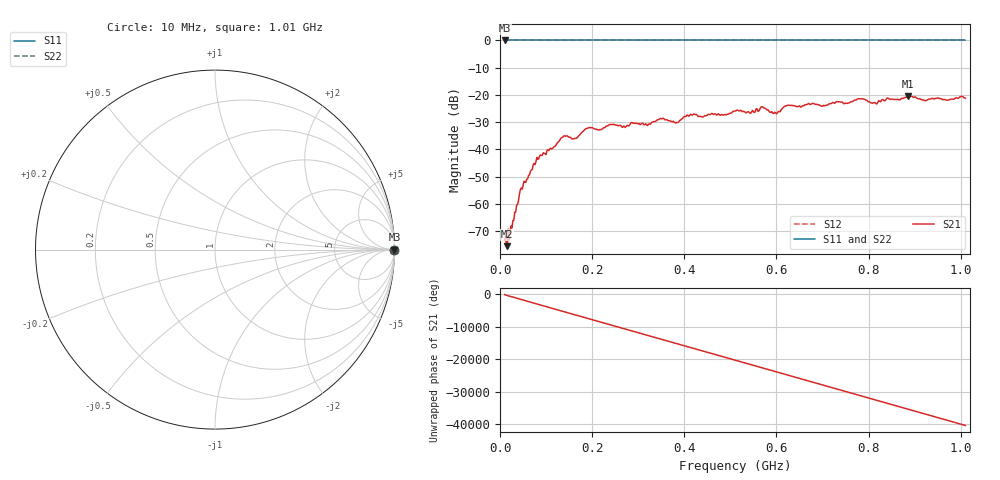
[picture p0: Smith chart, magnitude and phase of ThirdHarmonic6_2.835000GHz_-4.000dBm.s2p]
! 8/17/2025 7:34:50 AM
! C:\ANRITSUVNA\TEMP\TEMP.S2P
! CHANNEL.1
! TR.MEASUREMENT
! RAW.DATA
! RF.CORRECTION.OFF
! AVERAGING.OFF
! IF.BANDWIDTH: 5KHZ
! SWEEPTYPE:  FREQ.SWEEP(Linear)
! Reference Plane Port Info
! PORT:  PORT1  PORT2
! DISTANCE:  0  m  0  m
! TIME:  0  s  0  s
! PHASE.OFFSET:  0  deg.  0  deg.
! LOSS:  0  dB  0  dB
! REF.LOSS:  0  dB  0  dB
! REF.FREQ:  0  Hz  0  Hz
! Power Info
! POWER:  -20  dBm  -20  dBm
! EFF.POWER:  -20  dBm  -20  dBm
! SOURCE.ATTEN:  0  dB  0  dB
! TEST.ATTEN:  0  dB  0  dB
# GHZ S RI R 50.0
! FREQ.GHZ  S11RE  S11IM  S21RE  S21IM  S12RE  S12IM  S22RE  S22IM
!; PortSelection: Port_12
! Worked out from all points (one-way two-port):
!   501 points, 10 MHz to 1.01 GHz, reference 50 ohm
!   highest |S21| = -20.47 dB at 886 MHz (marker M1); lowest = -75.5 dB at 16 MHz (marker M2)
!   lowest |S11| = 0.0 dB at 10 MHz (marker M3)
!   |S11| at or under -10 dB: nowhere
!   |S22| runs from 0.0 to 0.0 dB; largest |S21 - S12| = 1.1
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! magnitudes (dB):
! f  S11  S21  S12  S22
! 10 MHz  0.0  -73.3  0.0  0.0
! 16 MHz  0.0  -75.5  0.0  0.0
! 48 MHz  0.0  -54.6  0.0  0.0
! 76 MHz  0.0  -45.6  0.0  0.0
! 136 MHz  0.0  -35.6  0.0  0.0
! 162 MHz  0.0  -35.9  0.0  0.0
! 178 MHz  0.0  -33.7  0.0  0.0
! 242 MHz  0.0  -30.8  0.0  0.0
! 322 MHz  0.0  -30.8  0.0  0.0
! 344 MHz  0.0  -29.1  0.0  0.0
! 384 MHz  0.0  -30.1  0.0  0.0
! 410 MHz  0.0  -27.8  0.0  0.0
! 510 MHz  0.0  -25.9  0.0  0.0
! 570 MHz  0.0  -24.4  0.0  0.0
! 598 MHz  0.0  -26.5  0.0  0.0
! 622 MHz  0.0  -23.9  0.0  0.0
! 678 MHz  0.0  -23.1  0.0  0.0
! 782 MHz  0.0  -21.5  0.0  0.0
! 814 MHz  0.0  -22.8  0.0  0.0
! 844 MHz  0.0  -21.4  0.0  0.0
! 886 MHz  0.0  -20.5  0.0  0.0
! 1.01 GHz  0.0  -21.2  0.0  0.0
